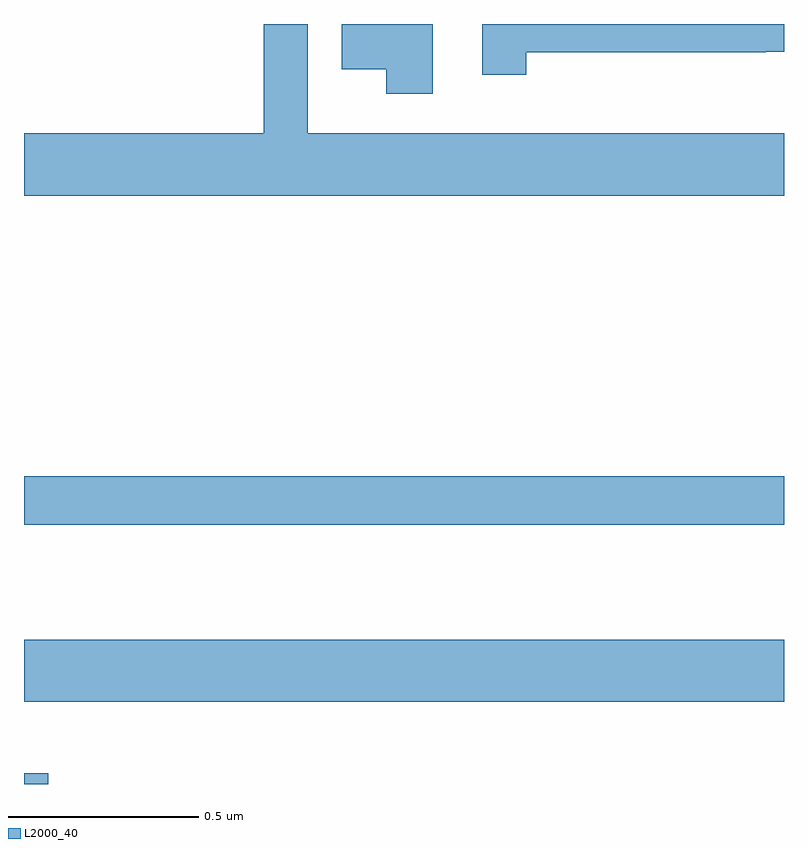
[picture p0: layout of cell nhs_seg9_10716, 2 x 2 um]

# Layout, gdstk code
import gdstk
lib = gdstk.Library(unit=1e-6, precision=1e-09)
def R(c, l, rs):  # rectangles x0, y0, x1, y1
    for r in rs: c.add(gdstk.rectangle(r[:2], r[2:], *l))
def P(c, l, *ps):  # polygons
    for p in ps: c.add(gdstk.Polygon(p, *l))
L2000_40 = (2000, 40)

nhs_seg9_10716 = lib.new_cell('nhs_seg9_10716')
R(nhs_seg9_10716, L2000_40, [(246,1233.5,246.064,1233.528), (246,1233.716,248,1233.88), (246,1234.182,248,1234.31)])
P(nhs_seg9_10716, L2000_40, [(248,1235.212),(246.747,1235.212),(246.747,1235.5),(246.631,1235.5),(246.631,1235.212),(246,1235.212),(246,1235.048),(248,1235.048)],
  [(247.075,1235.5),(246.836,1235.5),(246.836,1235.381),(246.953,1235.381),(246.953,1235.316),(247.075,1235.316)],
  [(247.322,1235.426),(247.952,1235.426),(247.952,1235.427),(248,1235.427),(248,1235.5),(247.206,1235.5),(247.206,1235.367),(247.322,1235.367)])

lib.write_gds('nhs_seg9_10716.gds')
